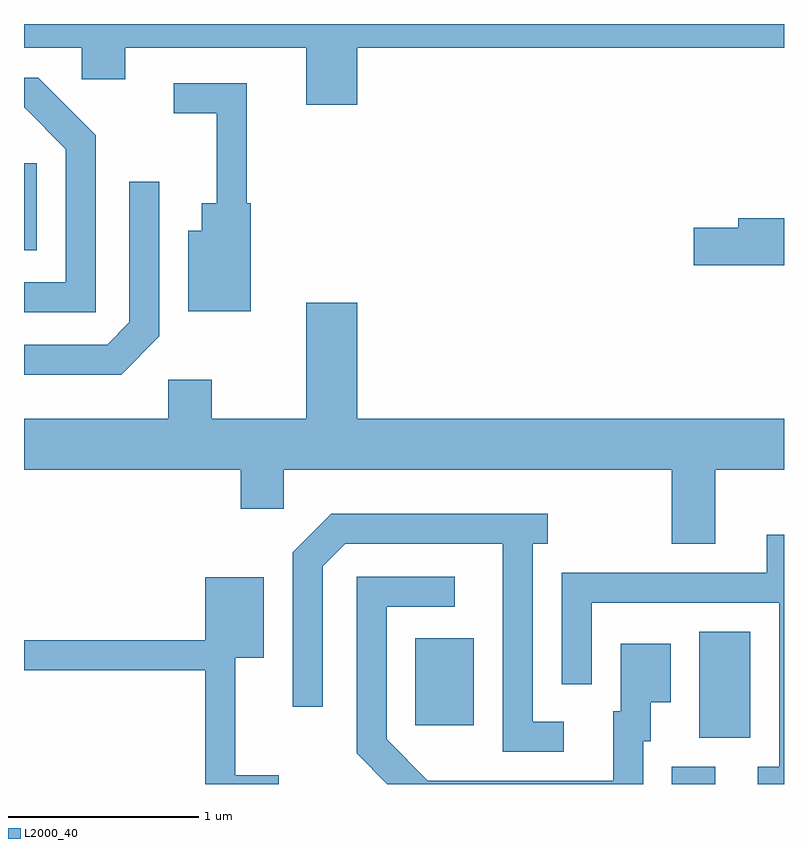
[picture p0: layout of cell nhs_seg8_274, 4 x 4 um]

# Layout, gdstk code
import gdstk
lib = gdstk.Library(unit=1e-6, precision=1e-09)
def R(c, l, rs):  # rectangles x0, y0, x1, y1
    for r in rs: c.add(gdstk.rectangle(r[:2], r[2:], *l))
def P(c, l, *ps):  # polygons
    for p in ps: c.add(gdstk.Polygon(p, *l))
L2000_40 = (2000, 40)

nhs_seg8_274 = lib.new_cell('nhs_seg8_274')
R(nhs_seg8_274, L2000_40, [(197.021,1810.342,197.249,1810.434), (197.166,1810.586,197.434,1811.144), (195.671,1810.651,195.979,1811.109), (193.611,1813.151,193.679,1813.609)])
P(nhs_seg8_274, L2000_40, [(195.364,1814.216),(197.611,1814.216),(197.611,1814.342),(193.611,1814.342),(193.611,1814.216),(193.916,1814.216),(193.916,1814.051),(194.144,1814.051),(194.144,1814.216),(195.096,1814.216),(195.096,1813.916),(195.364,1813.916)],
  [(193.989,1813.757),(193.687,1814.059),(193.611,1814.059),(193.611,1813.901),(193.614,1813.901),(193.831,1813.684),(193.831,1812.984),(193.611,1812.984),(193.611,1812.826),(193.989,1812.826)],
  [(194.804,1813.399),(194.784,1813.399),(194.784,1814.029),(194.398,1814.029),(194.398,1813.871),(194.626,1813.871),(194.626,1813.399),(194.546,1813.399),(194.546,1813.254),(194.476,1813.254),(194.476,1812.831),(194.804,1812.831)],
  [(194.324,1812.699),(194.324,1813.513),(194.166,1813.513),(194.166,1812.772),(194.049,1812.654),(193.611,1812.654),(193.611,1812.496),(194.122,1812.496)],
  [(197.611,1813.319),(197.371,1813.319),(197.371,1813.269),(197.136,1813.269),(197.136,1813.071),(197.611,1813.071)],
  [(197.249,1811.996),(197.611,1811.996),(197.611,1812.264),(195.364,1812.264),(195.364,1812.874),(195.096,1812.874),(195.096,1812.264),(194.599,1812.264),(194.599,1812.469),(194.371,1812.469),(194.371,1812.264),(193.611,1812.264),(193.611,1811.996),(194.751,1811.996),(194.751,1811.791),(194.979,1811.791),(194.979,1811.996),(197.021,1811.996),(197.021,1811.606),(197.249,1811.606)],
  [(196.453,1810.669),(196.289,1810.669),(196.289,1811.606),(196.368,1811.606),(196.368,1811.764),(195.229,1811.764),(195.026,1811.562),(195.026,1810.748),(195.184,1810.748),(195.184,1811.489),(195.302,1811.606),(196.131,1811.606),(196.131,1810.511),(196.453,1810.511)],
  [(197.611,1811.654),(197.521,1811.654),(197.521,1811.454),(196.441,1811.454),(196.441,1810.868),(196.599,1810.868),(196.599,1811.296),(197.586,1811.296),(197.586,1810.434),(197.473,1810.434),(197.473,1810.342),(197.611,1810.342)],
  [(196.869,1810.566),(196.909,1810.566),(196.909,1810.771),(197.014,1810.771),(197.014,1811.079),(196.751,1811.079),(196.751,1810.724),(196.711,1810.724),(196.711,1810.359),(195.737,1810.359),(195.519,1810.577),(195.519,1811.276),(195.878,1811.276),(195.878,1811.434),(195.361,1811.434),(195.361,1810.504),(195.523,1810.342),(196.869,1810.342)],
  [(194.953,1810.389),(194.724,1810.389),(194.724,1811.006),(194.874,1811.006),(194.874,1811.429),(194.566,1811.429),(194.566,1811.099),(193.611,1811.099),(193.611,1810.941),(194.566,1810.941),(194.566,1810.342),(194.953,1810.342)])

lib.write_gds('nhs_seg8_274.gds')
